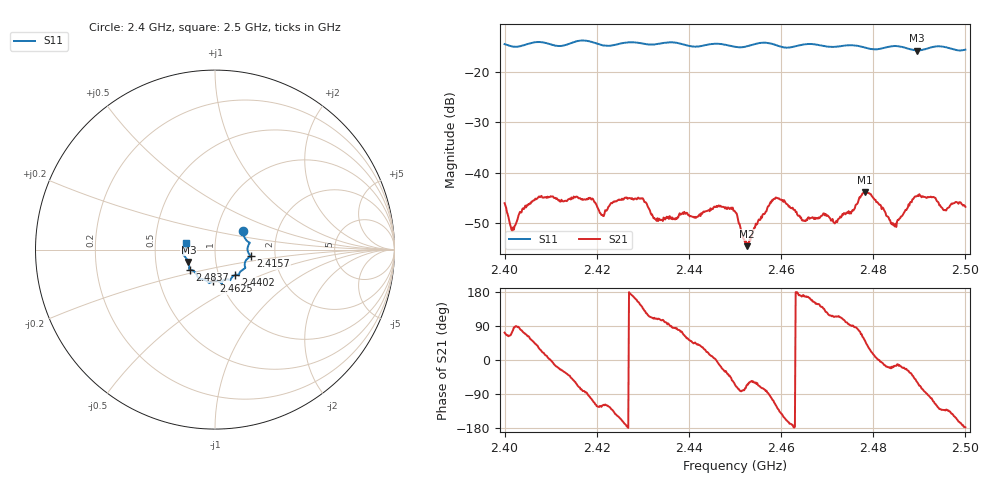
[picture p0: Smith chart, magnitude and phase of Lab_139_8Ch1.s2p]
# Hz S RI R 50
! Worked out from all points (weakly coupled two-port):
!   601 points, 2.4 GHz to 2.5 GHz, reference 50 ohm
!   highest |S21| = -43.84 dB at 2.4782 GHz (marker M1); lowest = -54.5 dB at 2.4525 GHz (marker M2)
!   lowest |S11| = -15.7 dB at 2.4895 GHz (marker M3), VSWR 1.39, Z = 36.8 - j5.17 ohm
!   |S11| at or under -10 dB: start of sweep to end of sweep
!   S12 and S22 are empty: the file has one direction only
!   S11 on the Smith chart (normalised r, x): 2.4 GHz: 1.34, +0.29; 2.4157 GHz: 1.49, -0.11; 2.4402 GHz: 1.20, -0.35; 2.4625 GHz: 0.92, -0.34; 2.4837 GHz: 0.74, -0.17; 2.5 GHz: 0.72, +0.05
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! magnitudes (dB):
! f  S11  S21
! 2.4 GHz  -14.5  -46.0
! 2.4018 GHz  -15.0  -50.8
! 2.4075 GHz  -14.1  -44.6
! 2.4157 GHz  -13.9  -44.7
! 2.4167 GHz  -13.7  -45.3
! 2.4212 GHz  -14.7  -48.3
! 2.4295 GHz  -14.3  -45.0
! 2.4333 GHz  -14.4  -49.5
! 2.4402 GHz  -14.8  -48.6
! 2.45 GHz  -15.0  -47.6
! 2.4525 GHz  -14.9  -54.5
! 2.4585 GHz  -14.5  -45.1
! 2.4625 GHz  -15.0  -46.9
! 2.4667 GHz  -14.4  -48.9
! 2.4718 GHz  -15.0  -49.7
! 2.4782 GHz  -15.1  -43.8
! 2.4833 GHz  -15.0  -48.8
! 2.4837 GHz  -14.9  -49.4
! 2.485 GHz  -14.9  -50.7
! 2.4895 GHz  -15.7  -44.6
! 2.4955 GHz  -15.0  -47.3
! 2.5 GHz  -15.6  -46.7
